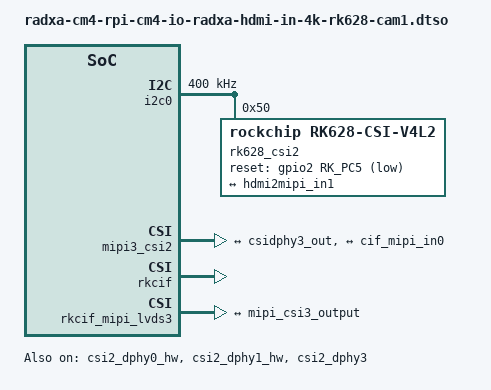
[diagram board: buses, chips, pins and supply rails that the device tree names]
/dts-v1/;
/plugin/;

#include <dt-bindings/gpio/gpio.h>
#include <dt-bindings/pinctrl/rockchip.h>
#include <dt-bindings/power/rockchip,rk3576-power.h>

/ {
	metadata {
		title = "Enable Radxa HDMI IN to MIPI CSI-2 Adapter on CAM1 (4-lane)";
		compatible = "radxa,cm4-rpi-cm4-io";
		category = "camera";
		exclusive = "GPIO2_C5", "csi2_dphy3", "i2c0";
		description = "Enable Radxa 4K HDMI IN to MIPI CSI-2 Adapter on the CAM1 4-lane CSI connector.
Supports up to 3840x2160 at 30 fps.
To capture audio, also enable the 'SAI2-M0 capture-only dummy sound card' overlay.";
	};
};

&i2c0 {
	status = "okay";
	pinctrl-names = "default";
	pinctrl-0 = <&i2c0m1_xfer>;
	clock-frequency = <400000>;
	#address-cells = <1>;
	#size-cells = <0>;

	rk628_csi2: rk628-csi@50 {
		compatible = "rockchip,rk628-csi-v4l2";
		reg = <0x50>;
		power-domains = <&power RK3576_PD_VI>;
		pinctrl-names = "default";
		pinctrl-0 = <&rk628_cam1_reset>;
		/* INT and DET are not routed; the driver uses I2C polling. */
		reset-gpios = <&gpio2 RK_PC5 GPIO_ACTIVE_LOW>;
		continues-clk = <1>;
		rockchip,camera-module-index = <1>;
		rockchip,camera-module-facing = "back";
		rockchip,camera-module-name = "HDMI-MIPI1";
		rockchip,camera-module-lens-name = "RK628-CSI";

		port {
			hdmiin_out1: endpoint {
				remote-endpoint = <&hdmi2mipi_in1>;
				data-lanes = <1 2 3 4>;
			};
		};
	};
};

&csi2_dphy0_hw {
	status = "okay";
};

&csi2_dphy1_hw {
	status = "okay";
};

&csi2_dphy3 {
	status = "okay";

	ports {
		#address-cells = <1>;
		#size-cells = <0>;

		port@0 {
			reg = <0>;
			#address-cells = <1>;
			#size-cells = <0>;

			hdmi2mipi_in1: endpoint@1 {
				reg = <1>;
				remote-endpoint = <&hdmiin_out1>;
				data-lanes = <1 2 3 4>;
			};
		};

		port@1 {
			reg = <1>;
			#address-cells = <1>;
			#size-cells = <0>;

			csidphy3_out: endpoint@0 {
				reg = <0>;
				remote-endpoint = <&mipi_csi3_input>;
			};
		};
	};
};

&mipi3_csi2 {
	status = "okay";

	ports {
		#address-cells = <1>;
		#size-cells = <0>;

		port@0 {
			reg = <0>;
			#address-cells = <1>;
			#size-cells = <0>;

			mipi_csi3_input: endpoint@1 {
				reg = <1>;
				remote-endpoint = <&csidphy3_out>;
			};
		};

		port@1 {
			reg = <1>;
			#address-cells = <1>;
			#size-cells = <0>;

			mipi_csi3_output: endpoint@0 {
				reg = <0>;
				remote-endpoint = <&cif_mipi_in0>;
			};
		};
	};
};

&rkcif {
	status = "okay";
};

&rkcif_mipi_lvds3 {
	status = "okay";

	port {
		cif_mipi_in0: endpoint {
			remote-endpoint = <&mipi_csi3_output>;
		};
	};
};

&rkcif_mmu {
	status = "okay";
};

&pinctrl {
	hdmiin-cam1 {
		rk628_cam1_reset: rk628-cam1-reset {
			rockchip,pins = <2 RK_PC5 RK_FUNC_GPIO &pcfg_pull_none>;
		};
	};
};
